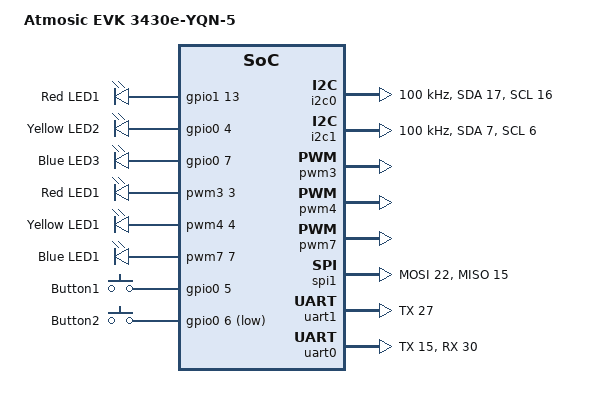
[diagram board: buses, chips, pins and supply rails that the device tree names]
/*
 * Copyright (c) 2021-2025 Atmosic
 *
 * SPDX-License-Identifier: Apache-2.0
 */

/dts-v1/;
#include <arm/atmosic/ATM34xx_ns.dtsi>
#include <dt-bindings/gpio/gpio.h>

/ {
	model = "Atmosic EVK 3430e-YQN-5";
	compatible = "atmosic,ATMEVK-3430e-YQN-5";

	chosen {
		zephyr,console = &uart1;
		zephyr,shell-uart = &uart1;
		zephyr,uart-mcumgr = &uart0;
		zephyr,bt-mon-uart = &uart1;
		zephyr,bt-c2h-uart = &uart0;
		zephyr,sram = &sram0;
		zephyr,flash-controller = &rram_controller;
		zephyr,flash = &rram0;
		zephyr,code-partition = &nspe_partition;
		zephyr,entropy = &trng;
		zephyr,ieee802154 = &ieee802154;
	};

	leds {
		compatible = "gpio-leds";
		led0: led_0 {
			gpios = <&gpio1 13 GPIO_ACTIVE_HIGH>;
			label = "Red LED1";
		};
		led1: led_1 {
			gpios = <&gpio0 4 GPIO_ACTIVE_HIGH>;
			label = "Yellow LED2";
		};
		led2: led_2 {
			gpios = <&gpio0 7 GPIO_ACTIVE_HIGH>;
			label = "Blue LED3";
		};
	};

        pwmleds {
                compatible = "pwm-leds";
                pwm_led0: pwm_led_0 {
                        pwms = <&pwm3 3 PWM_MSEC(1) PWM_POLARITY_NORMAL>;
			label = "Red LED1";
                };
                pwm_led1: pwm_led_1 {
                        pwms = <&pwm4 4 PWM_MSEC(1) PWM_POLARITY_NORMAL>;
			label = "Yellow LED1";
                };
                pwm_led2: pwm_led_2 {
                        pwms = <&pwm7 7 PWM_MSEC(1) PWM_POLARITY_NORMAL>;
			label = "Blue LED1";
                };
        };

	buttons {
		compatible = "gpio-keys";
		button0: button_0 {
			gpios = <&gpio0 5 GPIO_ACTIVE_HIGH>;
			label = "Button1";
		};
		button1: button_1 {
			gpios = <&gpio0 6 GPIO_ACTIVE_LOW>;
			label = "Button2";
		};
	};

	/* These aliases are provided for compatibility with samples */
	aliases {
		i2c-1 = &i2c0;
		led0 = &led0;
		pwm-0 = &pwm3;
		pwm-1 = &pwm4;
		pwm-2 = &pwm7;
		pwm-led0 = &pwm_led0;
		pwm-led1 = &pwm_led1;
		pwm-led2 = &pwm_led2;
		sw0 = &button0;
	};
};

&flash_controller {
	clk-pin = <35>;
	csn-pin = <31>;
	d0-pin = <34>;
	d1-pin = <32>;
	d2-pin = <33>;
	d3-pin = <36>;
};

&i2c0 {
        sda-pin = <17>;
        scl-pin = <16>;
	clock-frequency = <I2C_BITRATE_STANDARD>;
};

&i2c1 {
        sda-pin = <7>;
        scl-pin = <6>;
	clock-frequency = <I2C_BITRATE_STANDARD>;
};

&pwm3 {
	pin = <29>;
	status = "okay";
};

&pwm4 {
	pin = <4>;
	status = "okay";
};

&pwm7 {
	pin = <7>;
	status = "okay";
};

&spi1 {
        clk-pin = <5>;
        cs-pin = <4>;
        mosi-pin = <22>;
        miso-pin = <15>;
};

&adc {
	ch-cell = <1>;
	ch-batt = <11>;
};

&uart1 {
	tx-pin = <27>;
};

&uart0 {
	rx-pin = <30>;
	tx-pin = <15>;
	rts-pin = <13>;
	cts-pin = <12>;
};

&pmu {
	vddpa-src = <0>;
};

arduino_i2c: &i2c0 {};
arduino_spi: &spi1 {};
